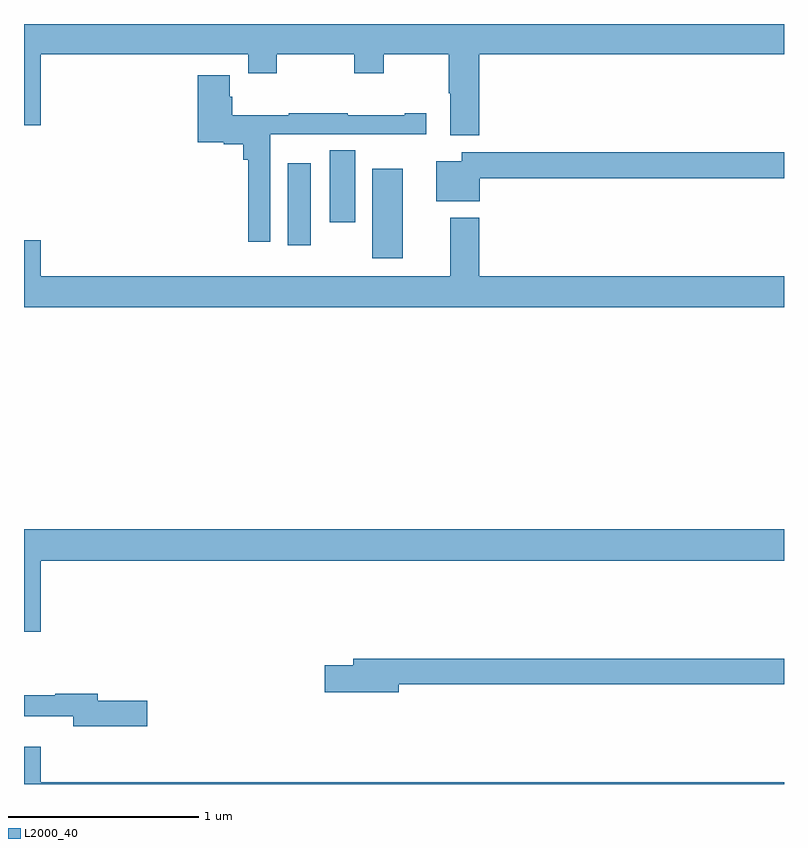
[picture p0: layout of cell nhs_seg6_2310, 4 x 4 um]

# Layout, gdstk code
import gdstk
lib = gdstk.Library(unit=1e-6, precision=1e-09)
def R(c, l, rs):  # rectangles x0, y0, x1, y1
    for r in rs: c.add(gdstk.rectangle(r[:2], r[2:], *l))
def P(c, l, *ps):  # polygons
    for p in ps: c.add(gdstk.Polygon(p, *l))
L2000_40 = (2000, 40)

nhs_seg6_2310 = lib.new_cell('nhs_seg6_2310')
R(nhs_seg6_2310, L2000_40, [(250.832,942.267,250.993,942.739), (250.388,942.336,250.51,942.766), (250.61,942.456,250.744,942.836)])
P(nhs_seg6_2310, L2000_40, [(251.396,943.34),(253,943.34),(253,943.5),(249,943.5),(249,942.966),(249.088,942.966),(249.088,943.34),(250.181,943.34),(250.181,943.241),(250.329,943.241),(250.329,943.34),(250.738,943.34),(250.738,943.241),(250.893,943.241),(250.893,943.34),(251.236,943.34),(251.236,943.136),(251.243,943.136),(251.243,942.915),(251.396,942.915)],
  [(250.296,942.92),(250.506,942.92),(250.506,942.921),(250.84,942.921),(250.84,942.92),(251.116,942.92),(251.116,943.03),(251.003,943.03),(251.003,943.02),(250.703,943.02),(250.703,943.03),(250.393,943.03),(250.393,943.02),(250.097,943.02),(250.097,943.116),(250.084,943.116),(250.084,943.231),(249.914,943.231),(249.914,942.878),(250.05,942.878),(250.05,942.866),(250.154,942.866),(250.154,942.785),(250.18,942.785),(250.18,942.354),(250.296,942.354)],
  [(251.398,942.688),(253,942.688),(253,942.824),(251.304,942.824),(251.304,942.778),(251.171,942.778),(251.171,942.566),(251.398,942.566)],
  [(253,942.172),(251.396,942.172),(251.396,942.481),(251.243,942.481),(251.243,942.172),(249.088,942.172),(249.088,942.361),(249,942.361),(249,942.008),(253,942.008)],
  [(249,940.302),(249.088,940.302),(249.088,940.676),(253,940.676),(253,940.84),(249,940.84)],
  [(250.972,940.024),(253,940.024),(253,940.16),(250.733,940.16),(250.733,940.124),(250.584,940.124),(250.584,939.982),(250.972,939.982)],
  [(249.649,939.938),(249.388,939.938),(249.388,939.974),(249.164,939.974),(249.164,939.967),(249,939.967),(249,939.857),(249.26,939.857),(249.26,939.803),(249.649,939.803)],
  [(253,939.508),(249.088,939.508),(249.088,939.697),(249,939.697),(249,939.5),(253,939.5)])

lib.write_gds('nhs_seg6_2310.gds')
